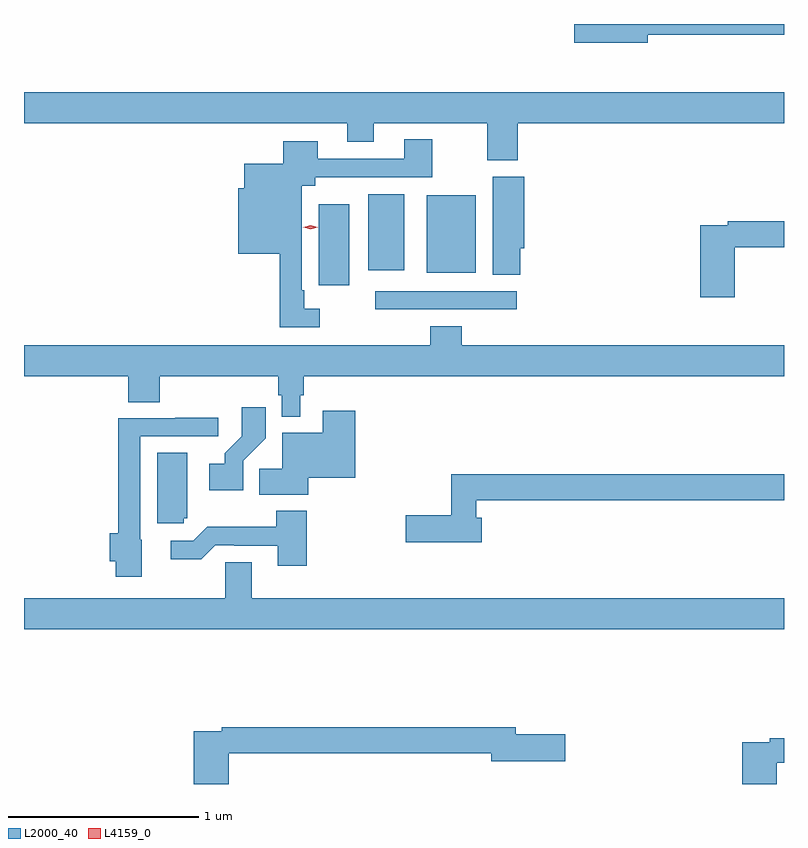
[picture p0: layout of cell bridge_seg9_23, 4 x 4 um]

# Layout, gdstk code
import gdstk
lib = gdstk.Library(unit=1e-6, precision=1e-09)
def R(c, l, rs):  # rectangles x0, y0, x1, y1
    for r in rs: c.add(gdstk.rectangle(r[:2], r[2:], *l))
def P(c, l, *ps):  # polygons
    for p in ps: c.add(gdstk.Polygon(p, *l))
L2000_40 = (2000, 40)
L4159_0 = (4159, 0)

bridge_seg9_23 = lib.new_cell('bridge_seg9_23')
R(bridge_seg9_23, L2000_40, [(958.605,1187.448,959.35,1187.544), (958.307,1187.574,958.468,1188.001), (958.877,1187.642,959.134,1188.049), (958.568,1187.654,958.756,1188.055)])
P(bridge_seg9_23, L2000_40, [(960.04,1188.894),(960.756,1188.894),(960.756,1188.95),(959.652,1188.95),(959.652,1188.851),(960.04,1188.851)],
  [(959.354,1188.428),(960.756,1188.428),(960.756,1188.592),(956.756,1188.592),(956.756,1188.428),(958.457,1188.428),(958.457,1188.329),(958.597,1188.329),(958.597,1188.428),(959.194,1188.428),(959.194,1188.234),(959.354,1188.234)],
  [(958.312,1187.451),(958.23,1187.451),(958.23,1187.548),(958.218,1187.548),(958.218,1187.845),(958.219,1187.845),(958.219,1188.098),(958.288,1188.098),(958.288,1188.144),(958.905,1188.144),(958.905,1188.343),(958.757,1188.343),(958.757,1188.24),(958.303,1188.24),(958.303,1188.334),(958.121,1188.334),(958.121,1188.214),(957.914,1188.214),(957.914,1188.085),(957.884,1188.085),(957.884,1187.741),(958.102,1187.741),(958.102,1187.355),(958.312,1187.355)],
  [(959.369,1187.769),(959.39,1187.769),(959.39,1188.145),(959.222,1188.145),(959.222,1187.629),(959.369,1187.629)],
  [(960.497,1187.776),(960.756,1187.776),(960.756,1187.912),(960.46,1187.912),(960.46,1187.892),(960.314,1187.892),(960.314,1187.511),(960.497,1187.511)],
  [(958.209,1186.995),(958.229,1186.995),(958.229,1187.096),(960.756,1187.096),(960.756,1187.26),(959.06,1187.26),(959.06,1187.359),(958.895,1187.359),(958.895,1187.26),(956.756,1187.26),(956.756,1187.096),(957.305,1187.096),(957.305,1186.96),(957.47,1186.96),(957.47,1187.096),(958.093,1187.096),(958.093,1186.995),(958.113,1186.995),(958.113,1186.883),(958.209,1186.883)],
  [(957.909,1186.651),(958.028,1186.77),(958.028,1186.933),(957.903,1186.933),(957.903,1186.781),(957.812,1186.691),(957.812,1186.636),(957.732,1186.636),(957.732,1186.496),(957.909,1186.496)],
  [(958.252,1186.562),(958.499,1186.562),(958.499,1186.915),(958.328,1186.915),(958.328,1186.798),(958.115,1186.798),(958.115,1186.61),(957.994,1186.61),(957.994,1186.472),(958.252,1186.472)],
  [(957.376,1186.236),(957.369,1186.236),(957.369,1186.779),(957.778,1186.779),(957.778,1186.878),(957.553,1186.878),(957.553,1186.875),(957.253,1186.875),(957.253,1186.271),(957.206,1186.271),(957.206,1186.122),(957.24,1186.122),(957.24,1186.04),(957.376,1186.04)],
  [(957.597,1186.35),(957.616,1186.35),(957.616,1186.694),(957.458,1186.694),(957.458,1186.323),(957.597,1186.323)],
  [(959.165,1186.351),(959.137,1186.351),(959.137,1186.444),(960.756,1186.444),(960.756,1186.58),(959.005,1186.58),(959.005,1186.364),(958.764,1186.364),(958.764,1186.222),(959.165,1186.222)],
  [(958.244,1186.387),(958.084,1186.387),(958.084,1186.303),(957.721,1186.303),(957.648,1186.23),(957.528,1186.23),(957.528,1186.133),(957.689,1186.133),(957.762,1186.206),(957.862,1186.206),(957.862,1186.203),(958.091,1186.203),(958.091,1186.098),(958.244,1186.098)],
  [(960.756,1185.928),(957.955,1185.928),(957.955,1186.118),(957.816,1186.118),(957.816,1185.928),(956.756,1185.928),(956.756,1185.764),(960.756,1185.764)],
  [(957.833,1185.112),(959.216,1185.112),(959.216,1185.07),(959.605,1185.07),(959.605,1185.212),(959.344,1185.212),(959.344,1185.248),(957.796,1185.248),(957.796,1185.228),(957.65,1185.228),(957.65,1184.95),(957.833,1184.95)],
  [(960.719,1185.063),(960.756,1185.063),(960.756,1185.191),(960.682,1185.191),(960.682,1185.171),(960.536,1185.171),(960.536,1184.95),(960.719,1184.95)])
P(bridge_seg9_23, L4159_0, [(958.264,1187.871),(958.226,1187.881),(958.225,1187.881),(958.226,1187.881),(958.264,1187.891),(958.303,1187.88),(958.303,1187.88),(958.303,1187.88)])

lib.write_gds('bridge_seg9_23.gds')
